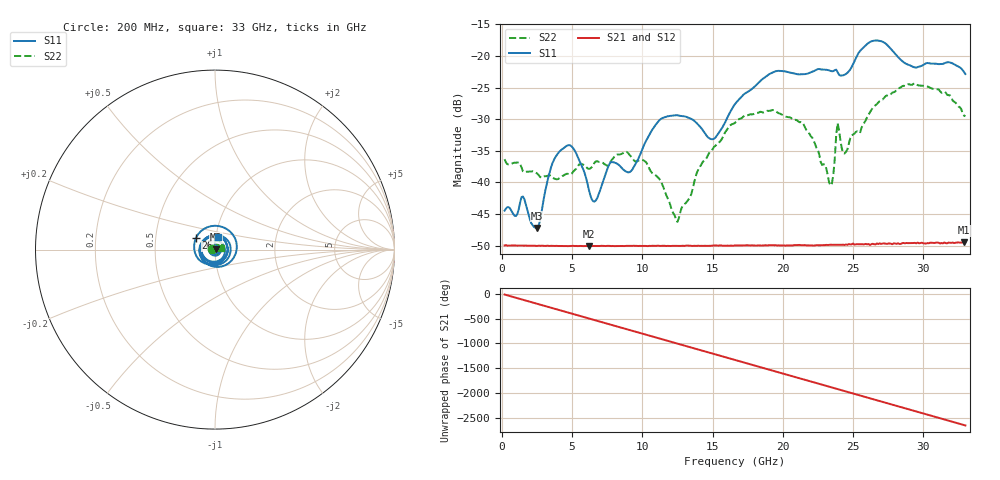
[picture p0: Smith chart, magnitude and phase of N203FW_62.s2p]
# GHZ S RI R 50
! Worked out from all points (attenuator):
!   329 points, 200 MHz to 33 GHz, reference 50 ohm
!   highest |S21| = -49.45 dB at 32.9 GHz (marker M1); lowest = -50.1 dB at 6.2 GHz (marker M2)
!   lowest |S11| = -47.2 dB at 2.5 GHz (marker M3), VSWR 1.01, Z = 50.4 + j0.252 ohm
!   |S11| at or under -10 dB: start of sweep to end of sweep
!   |S22| runs from -46.3 to -24.3 dB; largest |S21 - S12| = 8.8e-05
!   S11 on the Smith chart (normalised r, x): 200 MHz: 1.01, +0.00; 26 GHz: 0.80, +0.10; 33 GHz: 1.03, +0.14
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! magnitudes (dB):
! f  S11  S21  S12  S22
! 200 MHz  -44.5  -50.0  -49.9  -36.3
! 1.5 GHz  -42.2  -50.0  -50.0  -38.2
! 2.5 GHz  -47.2  -50.1  -50.0  -38.6
! 4 GHz  -35.4  -50.1  -50.1  -39.5
! 5.7 GHz  -37.4  -50.1  -50.0  -37.1
! 6.2 GHz  -41.2  -50.1  -50.1  -37.9
! 7.8 GHz  -36.8  -50.1  -50.1  -36.5
! 9.2 GHz  -38.2  -50.0  -50.0  -35.9
! 11.2 GHz  -30.2  -50.0  -50.0  -39.4
! 12.5 GHz  -29.4  -50.1  -50.1  -46.3
! 15 GHz  -33.2  -50.0  -50.0  -34.7
! 16.6 GHz  -27.6  -50.0  -50.0  -30.6
! 19.3 GHz  -22.6  -49.9  -49.9  -28.5
! 22.1 GHz  -22.5  -50.0  -49.9  -32.9
! 23.4 GHz  -22.3  -49.8  -49.9  -40.5
! 23.9 GHz  -22.5  -49.9  -49.9  -30.6
! 24.4 GHz  -23.0  -49.9  -49.8  -35.4
! 26 GHz  -18.1  -49.8  -49.7  -29.7
! 27.6 GHz  -18.6  -49.7  -49.7  -26.3
! 31.1 GHz  -21.3  -49.5  -49.4  -25.3
! 32.9 GHz  -22.5  -49.4  -49.4  -29.4
! 33 GHz  -22.8  -49.5  -49.5  -29.5
